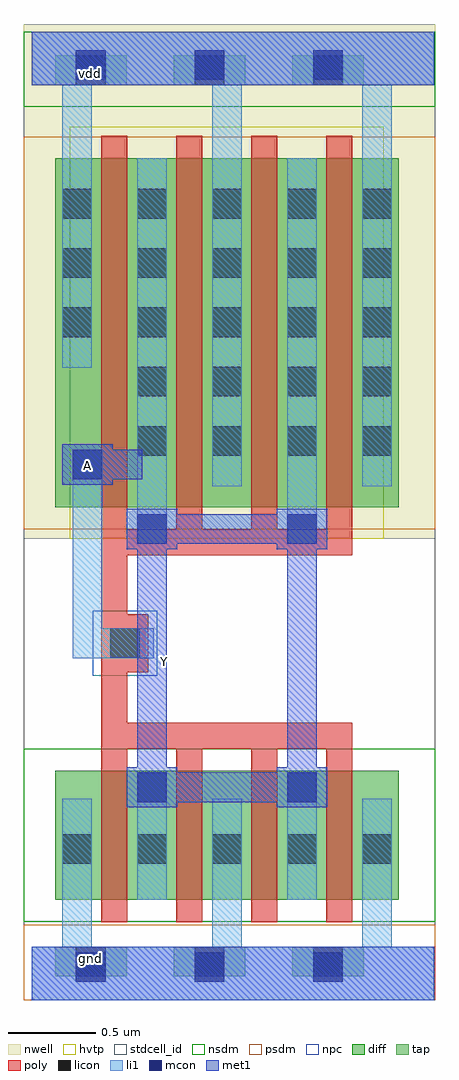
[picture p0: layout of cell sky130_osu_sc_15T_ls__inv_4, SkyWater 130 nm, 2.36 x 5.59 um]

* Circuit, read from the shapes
.subckt sky130_osu_sc_15T_ls__inv_4 A Y gnd vdd
XM1 Y A gnd gnd sky130_fd_pr__nfet_01v8 w=0.74 l=0.15 m=4
XM2 Y A vdd vdd sky130_fd_pr__pfet_01v8_hvt w=2 l=0.15 m=4
.ends

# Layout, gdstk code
import gdstk
lib = gdstk.Library(unit=1e-6, precision=1e-09)
def R(c, l, rs):  # rectangles x0, y0, x1, y1
    for r in rs: c.add(gdstk.rectangle(r[:2], r[2:], *l))
def A(c, l, x, y, w, h, nx, ny, dx, dy):  # array of equal rectangles
    R(c, l, [(x+i*dx, y+j*dy, x+i*dx+w, y+j*dy+h) for i in range(nx) for j in range(ny)])
nwell = (64, 20)
diff = (65, 20)
tap = (65, 44)
poly = (66, 20)
licon = (66, 44)
li1 = (67, 20)
mcon = (67, 44)
met1 = (68, 20)
hvtp = (78, 44)
stdcell_id = (81, 4)
nsdm = (93, 44)
psdm = (94, 20)
npc = (95, 20)

sky130_osu_sc_15t_ls__in = lib.new_cell('sky130_osu_sc_15T_ls__inv_4')
R(sky130_osu_sc_15t_ls__in, nwell, [(-0.045,2.645,2.315,5.595)])
R(sky130_osu_sc_15t_ls__in, diff, [(0.135,0.575,2.105,1.315), (0.135,2.825,2.105,4.825)])
A(sky130_osu_sc_15t_ls__in, tap, 0.135, 0.135, 0.41, 0.17, 3, 2, 0.68, 5.11)
A(sky130_osu_sc_15t_ls__in, poly, 0.4, 0.445, 0.15, 0.995, 4, 1, 0.43, 0)
A(sky130_osu_sc_15t_ls__in, poly, 0.4, 2.7, 0.15, 2.255, 4, 1, 0.43, 0)
R(sky130_osu_sc_15t_ls__in, poly, [(0.4,1.44,1.84,1.59), (0.4,1.59,0.55,1.88), (0.4,1.88,0.67,2.21), (0.4,2.21,0.55,2.55), (0.4,2.55,1.84,2.7)])
A(sky130_osu_sc_15t_ls__in, licon, 0.255, 0.135, 0.17, 0.17, 3, 2, 0.68, 5.11)
A(sky130_osu_sc_15t_ls__in, licon, 0.175, 0.78, 0.17, 0.17, 5, 2, 0.43, 3.02)
A(sky130_osu_sc_15t_ls__in, licon, 0.605, 3.12, 0.17, 0.17, 4, 2, 0.43, 0.34)
A(sky130_osu_sc_15t_ls__in, licon, 0.175, 4.14, 0.17, 0.17, 5, 2, 0.43, 0.34)
R(sky130_osu_sc_15t_ls__in, licon, [(0.45,1.96,0.62,2.13)])
A(sky130_osu_sc_15t_ls__in, li1, 0.175, 0.305, 0.17, 0.85, 3, 1, 0.86, 0)
R(sky130_osu_sc_15t_ls__in, li1, [(0,0,2.31,0.305), (0.605,0.575,0.775,1.305), (1.465,0.575,1.635,1.305), (0.235,1.96,0.7,2.13), (0.235,2.13,0.405,3.155), (0.605,2.615,0.775,4.825), (1.465,2.615,1.635,4.825), (1.035,2.945,1.205,5.245), (1.895,2.945,2.065,5.245), (0.175,3.625,0.345,5.245), (0,5.245,2.31,5.55)])
A(sky130_osu_sc_15t_ls__in, mcon, 0.255, 0.105, 0.17, 0.17, 3, 2, 0.68, 5.17)
R(sky130_osu_sc_15t_ls__in, mcon, [(0.605,1.135,0.775,1.305), (1.465,1.135,1.635,1.305), (0.605,2.615,0.775,2.785), (1.465,2.615,1.635,2.785), (0.235,2.985,0.405,3.155)])
R(sky130_osu_sc_15t_ls__in, met1, [(0,0,2.31,0.305), (0.545,1.105,0.835,1.135), (1.405,1.105,1.695,1.135), (0.545,1.135,1.695,1.305), (0.545,1.305,0.835,1.335), (1.405,1.305,1.695,1.335), (0.605,1.335,0.775,2.585), (1.465,1.335,1.635,2.585), (0.545,2.585,0.835,2.615), (1.405,2.585,1.695,2.615), (0.545,2.615,1.695,2.785), (0.545,2.785,0.835,2.815), (1.405,2.785,1.695,2.815), (0.175,2.955,0.465,2.985), (0.175,2.985,0.635,3.155), (0.175,3.155,0.465,3.185), (0,5.245,2.31,5.55)])
R(sky130_osu_sc_15t_ls__in, hvtp, [(0.22,2.645,2.02,5.005)])
R(sky130_osu_sc_15t_ls__in, stdcell_id, [(-0.045,0,2.315,5.55)])
R(sky130_osu_sc_15t_ls__in, nsdm, [(-0.045,0.45,2.315,1.44), (-0.045,5.12,2.315,5.55)])
R(sky130_osu_sc_15t_ls__in, psdm, [(-0.045,0,2.315,0.43), (-0.045,2.7,2.315,4.95)])
R(sky130_osu_sc_15t_ls__in, npc, [(0.35,1.86,0.72,2.23)])
sky130_osu_sc_15t_ls__in.add(gdstk.Label('gnd', (0.34,0.24), layer=68, texttype=16))
sky130_osu_sc_15t_ls__in.add(gdstk.Label('vdd', (0.34,5.31), layer=68, texttype=16))
sky130_osu_sc_15t_ls__in.add(gdstk.Label('A', (0.32,3.065), layer=68, texttype=5))
sky130_osu_sc_15t_ls__in.add(gdstk.Label('Y', (0.76,1.94), layer=68, texttype=5))

lib.write_gds('sky130_osu_sc_15T_ls__inv_4.gds')
